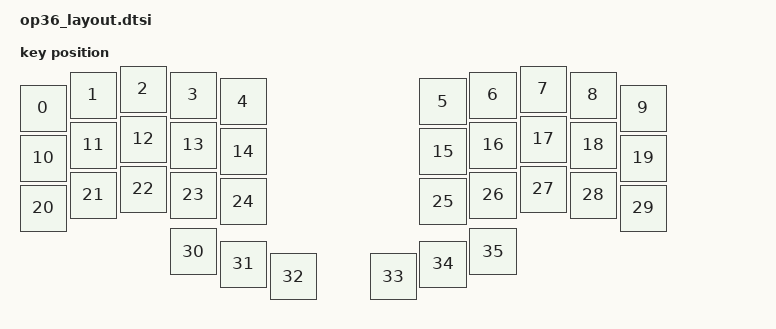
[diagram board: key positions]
#include <physical_layouts.dtsi>

/ {
    physical_layout: physical_layout {
        compatible = "zmk,physical-layout";
        display-name = "op36";

        kscan = <&kscan0>;
        transform = <&default_transform>;

        keys  //                     w   h    x    y     rot    rx    ry
            = <&key_physical_attrs 100 100    0   38       0     0     0>
            , <&key_physical_attrs 100 100  100   12       0     0     0>
            , <&key_physical_attrs 100 100  200    0       0     0     0>
            , <&key_physical_attrs 100 100  300   12       0     0     0>
            , <&key_physical_attrs 100 100  400   25       0     0     0>
            , <&key_physical_attrs 100 100  800   25       0     0     0>
            , <&key_physical_attrs 100 100  900   12       0     0     0>
            , <&key_physical_attrs 100 100 1000    0       0     0     0>
            , <&key_physical_attrs 100 100 1100   12       0     0     0>
            , <&key_physical_attrs 100 100 1200   38       0     0     0>
            , <&key_physical_attrs 100 100    0  138       0     0     0>
            , <&key_physical_attrs 100 100  100  112       0     0     0>
            , <&key_physical_attrs 100 100  200  100       0     0     0>
            , <&key_physical_attrs 100 100  300  112       0     0     0>
            , <&key_physical_attrs 100 100  400  125       0     0     0>
            , <&key_physical_attrs 100 100  800  125       0     0     0>
            , <&key_physical_attrs 100 100  900  112       0     0     0>
            , <&key_physical_attrs 100 100 1000  100       0     0     0>
            , <&key_physical_attrs 100 100 1100  112       0     0     0>
            , <&key_physical_attrs 100 100 1200  138       0     0     0>
            , <&key_physical_attrs 100 100    0  238       0     0     0>
            , <&key_physical_attrs 100 100  100  212       0     0     0>
            , <&key_physical_attrs 100 100  200  200       0     0     0>
            , <&key_physical_attrs 100 100  300  212       0     0     0>
            , <&key_physical_attrs 100 100  400  225       0     0     0>
            , <&key_physical_attrs 100 100  800  225       0     0     0>
            , <&key_physical_attrs 100 100  900  212       0     0     0>
            , <&key_physical_attrs 100 100 1000  200       0     0     0>
            , <&key_physical_attrs 100 100 1100  212       0     0     0>
            , <&key_physical_attrs 100 100 1200  238       0     0     0>
            , <&key_physical_attrs 100 100  300  325       0     0     0>
            , <&key_physical_attrs 100 100  400  350       0     0     0>
            , <&key_physical_attrs 100 100  500  375       0     0     0>
            , <&key_physical_attrs 100 100  700  375       0     0     0>
            , <&key_physical_attrs 100 100  800  350       0     0     0>
            , <&key_physical_attrs 100 100  900  325       0     0     0>
            ;
    };
};
